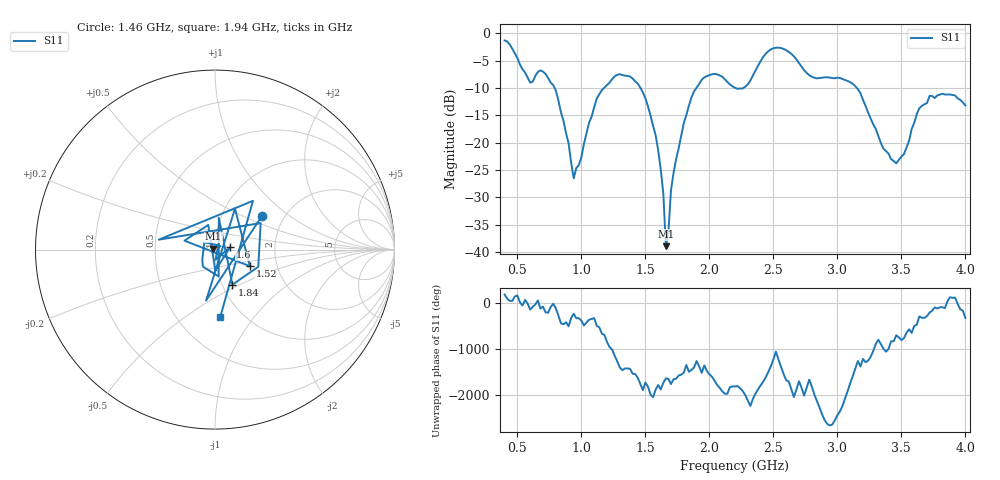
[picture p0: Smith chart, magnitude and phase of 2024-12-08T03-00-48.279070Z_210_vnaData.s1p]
!Created with skrf (http://scikit-rf.org).
# Hz S RI R 50.0
!freq ReS11 ImS11
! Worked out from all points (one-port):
!   181 points, 400 MHz to 4 GHz, reference 50 ohm
!   lowest |S11| = -38.9 dB at 1.66 GHz (marker M1), VSWR 1.02, Z = 49 + j0.484 ohm
!   |S11| at or under -10 dB: 790.5 MHz to 1.177 GHz (386.3 MHz wide, 39.3 % of centre); 1.462 GHz to 1.899 GHz (437 MHz wide, 26 % of centre); 3.152 GHz to end of sweep (the widest 3 of 4)
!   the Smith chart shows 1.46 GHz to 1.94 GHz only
!   S11 on the Smith chart (normalised r, x): 1.46 GHz: 1.54, +0.63; 1.52 GHz: 1.45, -0.28; 1.6 GHz: 1.18, +0.03; 1.84 GHz: 1.12, -0.46; 1.94 GHz: 0.79, -0.69
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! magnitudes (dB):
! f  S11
! 400 MHz  -1.3
! 600 MHz  -9.0
! 720 MHz  -7.4
! 800 MHz  -10.5
! 860 MHz  -16.0
! 940 MHz  -26.5
! 1.12 GHz  -11.9
! 1.3 GHz  -7.5
! 1.46 GHz  -9.9
! 1.52 GHz  -13.3
! 1.6 GHz  -21.4
! 1.64 GHz  -29.3
! 1.66 GHz  -38.9
! 1.68 GHz  -36.2
! 1.7 GHz  -28.7
! 1.76 GHz  -21.0
! 1.84 GHz  -13.2
! 1.94 GHz  -8.5
! 2.2 GHz  -10.0
! 2.3 GHz  -9.3
! 2.48 GHz  -3.0
! 2.66 GHz  -4.2
! 2.8 GHz  -7.9
! 3.1 GHz  -9.0
! 3.42 GHz  -23.0
! 3.56 GHz  -19.7
! 3.72 GHz  -11.4
! 4 GHz  -13.2
